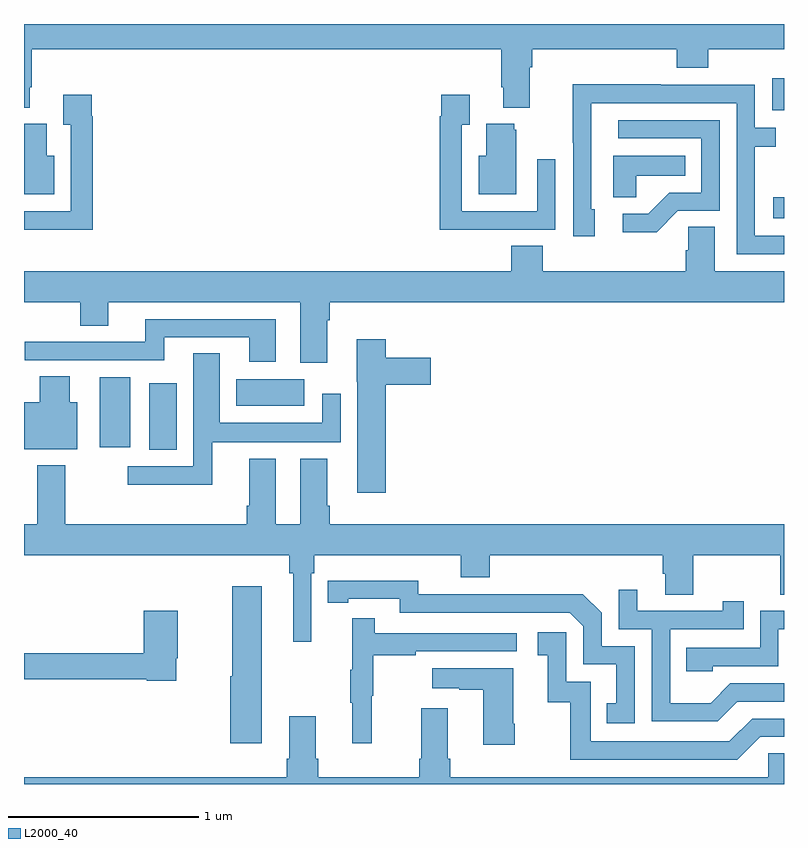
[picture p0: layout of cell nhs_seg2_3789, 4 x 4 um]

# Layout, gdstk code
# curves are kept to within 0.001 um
import gdstk
lib = gdstk.Library(unit=1e-6, precision=1e-09)
def R(c, l, rs):  # rectangles x0, y0, x1, y1
    for r in rs: c.add(gdstk.rectangle(r[:2], r[2:], *l))
def P(c, l, *ps):  # polygons
    for p in ps: c.add(gdstk.Polygon(p, *l))
L2000_40 = (2000, 40)

nhs_seg2_3789 = lib.new_cell('nhs_seg2_3789')
R(nhs_seg2_3789, L2000_40, [(311.66,613.558,311.803,613.909), (311.399,613.572,311.56,613.942), (312.116,613.79,312.475,613.93), (314.943,614.777,315,614.887), (314.937,615.345,315,615.514)])
P(nhs_seg2_3789, L2000_40, [(311.029,615.466),(311.042,615.466),(311.042,615.668),(313.511,615.668),(313.511,615.466),(313.523,615.466),(313.523,615.359),(313.663,615.359),(313.663,615.572),(313.676,615.572),(313.676,615.668),(314.435,615.668),(314.435,615.569),(314.6,615.569),(314.6,615.668),(315,615.668),(315,615.8),(311,615.8),(311,615.359),(311.029,615.359)],
  [(315,614.685),(314.847,614.685),(314.847,615.154),(314.957,615.154),(314.957,615.255),(314.847,615.255),(314.847,615.48),(314.351,615.48),(314.351,615.482),(313.888,615.482),(313.888,615.175),(313.89,615.175),(313.89,614.682),(314.005,614.682),(314.005,614.826),(313.986,614.826),(313.986,615.384),(314.751,615.384),(314.751,614.589),(315,614.589)],
  [(313.481,614.718),(313.797,614.718),(313.797,615.088),(313.701,615.088),(313.701,614.814),(313.305,614.814),(313.305,615.271),(313.345,615.271),(313.345,615.427),(313.197,615.427),(313.197,615.314),(313.189,615.314),(313.189,614.717),(313.481,614.717)],
  [(311.363,615.314),(311.356,615.314),(311.356,615.427),(311.207,615.427),(311.207,615.271),(311.247,615.271),(311.247,614.814),(311,614.814),(311,614.718),(311.071,614.718),(311.071,614.717),(311.363,614.717)],
  [(314.442,614.817),(314.661,614.817),(314.661,615.294),(314.127,615.294),(314.127,615.198),(314.565,615.198),(314.565,614.913),(314.396,614.913),(314.285,614.802),(314.151,614.802),(314.151,614.705),(314.329,614.705)],
  [(311.158,615.106),(311.119,615.106),(311.119,615.274),(311,615.274),(311,614.903),(311.158,614.903)],
  [(313.591,615.243),(313.58,615.243),(313.58,615.274),(313.433,615.274),(313.433,615.106),(313.394,615.106),(313.394,614.903),(313.591,614.903)],
  [(314.223,615.002),(314.48,615.002),(314.48,615.106),(314.102,615.106),(314.102,614.887),(314.223,614.887)],
  [(312.595,614.24),(312.608,614.24),(312.608,614.336),(315,614.336),(315,614.5),(314.635,614.5),(314.635,614.732),(314.496,614.732),(314.496,614.609),(314.483,614.609),(314.483,614.5),(313.73,614.5),(313.73,614.633),(313.565,614.633),(313.565,614.5),(311,614.5),(311,614.336),(311.296,614.336),(311.296,614.212),(311.443,614.212),(311.443,614.336),(312.455,614.336),(312.455,614.016),(312.595,614.016)],
  [(312.325,614.247),(311.639,614.247),(311.639,614.127),(311.005,614.127),(311.005,614.031),(311.737,614.031),(311.737,614.151),(312.185,614.151),(312.185,614.022),(312.325,614.022)],
  [(312.905,613.901),(313.141,613.901),(313.141,614.043),(312.905,614.043),(312.905,614.14),(312.752,614.14),(312.752,613.917),(312.755,613.917),(312.755,613.332),(312.905,613.332)],
  [(311.99,613.598),(312.666,613.598),(312.666,613.855),(312.57,613.855),(312.57,613.702),(312.031,613.702),(312.031,614.066),(311.891,614.066),(311.891,613.473),(311.547,613.473),(311.547,613.376),(311.99,613.376)],
  [(311.281,613.81),(311.242,613.81),(311.242,613.946),(311.084,613.946),(311.084,613.81),(311,613.81),(311,613.562),(311.281,613.562)],
  [(312.513,612.908),(312.527,612.908),(312.527,613.004),(313.298,613.004),(313.298,612.887),(313.451,612.887),(313.451,613.004),(314.363,613.004),(314.363,612.906),(314.375,612.906),(314.375,612.796),(314.523,612.796),(314.523,613.004),(314.98,613.004),(314.98,612.796),(315,612.796),(315,613.168),(312.608,613.168),(312.608,613.264),(312.595,613.264),(312.595,613.513),(312.455,613.513),(312.455,613.168),(312.325,613.168),(312.325,613.513),(312.185,613.513),(312.185,613.264),(312.173,613.264),(312.173,613.168),(311.217,613.168),(311.217,613.477),(311.069,613.477),(311.069,613.168),(311,613.168),(311,613.004),(312.397,613.004),(312.397,612.908),(312.416,612.908),(312.416,612.549),(312.513,612.549)],
  [(314.214,612.525),(314.04,612.525),(314.04,612.702),(313.942,612.8),(313.534,612.8),(313.534,612.798),(313.074,612.798),(313.074,612.871),(312.598,612.87),(312.598,612.754),(312.706,612.754),(312.706,612.774),(312.978,612.774),(312.978,612.702),(313.872,612.702),(313.944,612.63),(313.944,612.429),(314.117,612.429),(314.117,612.225),(314.068,612.225),(314.068,612.12),(314.214,612.12)],
  [(312.25,612.841),(312.097,612.841),(312.097,612.366),(312.086,612.366),(312.086,612.014),(312.25,612.014)],
  [(314.755,612.234),(315,612.234),(315,612.33),(314.718,612.33),(314.614,612.226),(314.4,612.226),(314.4,612.615),(314.789,612.615),(314.789,612.763),(314.678,612.763),(314.678,612.711),(314.227,612.711),(314.227,612.823),(314.13,612.823),(314.13,612.615),(314.304,612.615),(314.304,612.129),(314.65,612.129)],
  [(311.8,612.463),(311.808,612.463),(311.808,612.712),(311.63,612.712),(311.63,612.488),(311,612.488),(311,612.352),(311.646,612.352),(311.646,612.344),(311.8,612.344)],
  [(314.625,612.42),(314.97,612.42),(314.97,612.615),(315,612.615),(315,612.711),(314.874,612.711),(314.874,612.516),(314.485,612.516),(314.485,612.393),(314.625,612.393)],
  [(312.83,612.264),(312.838,612.264),(312.838,612.478),(313.061,612.478),(313.061,612.498),(313.594,612.498),(313.594,612.594),(312.845,612.594),(312.845,612.673),(312.728,612.673),(312.728,612.401),(312.717,612.401),(312.717,612.227),(312.728,612.227),(312.728,612.015),(312.83,612.015)],
  [(314.874,612.048),(315,612.048),(315,612.144),(314.832,612.144),(314.712,612.024),(313.983,612.024),(313.983,612.339),(313.854,612.339),(313.854,612.598),(313.704,612.598),(313.704,612.477),(313.757,612.477),(313.757,612.231),(313.875,612.231),(313.875,611.928),(314.754,611.928)],
  [(313.584,612.118),(313.576,612.118),(313.576,612.409),(313.149,612.409),(313.149,612.305),(313.292,612.305),(313.292,612.295),(313.418,612.295),(313.418,612.006),(313.584,612.006)],
  [(315,611.963),(314.916,611.963),(314.916,611.836),(313.244,611.836),(313.244,611.932),(313.231,611.932),(313.231,612.199),(313.091,612.199),(313.091,611.932),(313.079,611.932),(313.079,611.836),(312.548,611.836),(312.548,611.932),(312.535,611.932),(312.535,612.157),(312.395,612.157),(312.395,611.932),(312.383,611.932),(312.383,611.836),(311,611.836),(311,611.8),(315,611.8)])

lib.write_gds('nhs_seg2_3789.gds')
